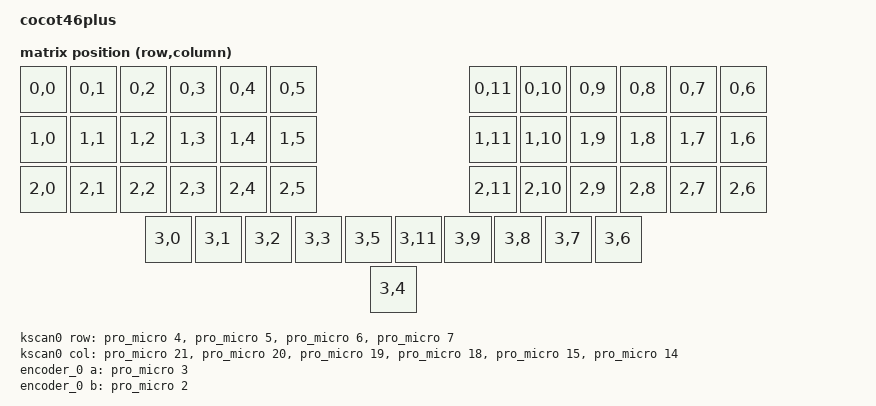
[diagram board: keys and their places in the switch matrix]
#include <dt-bindings/zmk/matrix_transform.h>
#include <dt-bindings/led/led.h>
/* Attempt 45: key_physical_attrs node (zmk,key-physical-attrs) needed by the
   physical layout 'keys' property (ZMK Studio). Resolves via ZMK's app module
   dts_root (app/module.yml: settings.dts_root = app/) - same include every
   in-tree keyboard with 'keys' uses (docs: development/hardware-integration/
   physical-layouts.md, "To pull in the necessary definition ... a new include
   should be added"). */
#include <physical_layouts.dtsi>

/ {
    model = "cocot46plus";
    compatible = "cocot46plus";

    /* Duplex matrix, same electrical model as QMK's custom matrix.c:
       pass 1 (col2row) = QMK logical rows 0-3,
       pass 2 (row2col) = QMK logical rows 5-8, reported in cols 6-11 [39][63] */
    kscan0: kscan_0 {
        compatible = "zmk,kscan-duplex-matrix";
        wakeup-source;

        row-gpios
            = <&pro_micro 4  GPIO_ACTIVE_LOW>   /* D4 */
            , <&pro_micro 5  GPIO_ACTIVE_LOW>   /* C6 */
            , <&pro_micro 6  GPIO_ACTIVE_LOW>   /* D7 */
            , <&pro_micro 7  GPIO_ACTIVE_LOW>   /* E6 */
            ;
        col-gpios
            = <&pro_micro 21 GPIO_ACTIVE_LOW>   /* F4 */
            , <&pro_micro 20 GPIO_ACTIVE_LOW>   /* F5 */
            , <&pro_micro 19 GPIO_ACTIVE_LOW>   /* F6 */
            , <&pro_micro 18 GPIO_ACTIVE_LOW>   /* F7 */
            , <&pro_micro 15 GPIO_ACTIVE_LOW>   /* B1 */
            , <&pro_micro 14 GPIO_ACTIVE_LOW>   /* B3 */
            ;

        debounce-press-ms = <5>;
        debounce-release-ms = <5>;
        scan-delay-us = <1>;
        /* poll-period-ms = <10>;  lower it if you want snappier response */
    };

    /* EC12-compatible encoder, QMK pins D3/D2 (aki27kbd fork keyboard.json:
       pin_a D3, pin_b D2). D3 = pro_micro 3 = P0.20, D2 = pro_micro 2 =
       P0.17. NOTE: D1/D0 (pro_micro 1/0 = P0.06/P0.08) are the OLED I2C
       pads (SDA/SCL) and must NOT be used here - Attempts <=33 wired the
       encoder onto the I2C pins, colliding with the i2c0 re-route below. */
    encoder_0: encoder_0 {
        compatible = "alps,ec11";
        resolution = <4>;
        a-gpios = <&pro_micro 3 (GPIO_ACTIVE_HIGH | GPIO_PULL_UP)>;  /* D3 */
        b-gpios = <&pro_micro 2 (GPIO_ACTIVE_HIGH | GPIO_PULL_UP)>;  /* D2 */
    };

    /* ADNS-5050 trackball sensor, bit-banged 3-wire (Attempt 34 pin
       verification: QMK aki27kbd fork config.h ADNS5050_SCLK_PIN B2 /
       SDIO_PIN B4 / CS_PIN B5; AVR PB2/PB4/PB5 = Arduino silk D16/D8/D9;
       nice!nano arduino_pro_micro_pins.dtsi: 16->gpio0 10 (P0.10),
       8->gpio1 4 (P1.04), 9->gpio1 6 (P1.06). Index 16 IS in the map.
       No MOTION pin, driver polls at 125 Hz. invert-x/y = QMK's
       POINTING_DEVICE_ROTATION_180.

       Attempt 37 (sensor unpowered, bench-confirmed): sensor VDD is
       jumpered to the Pro Micro VCC pin, which on the nice!nano is a
       SWITCHED rail - a load switch gated by P0.13. That pin is owned by
       the board's mandatory EXT_POWER node (zmk,ext-power-generic,
       control-gpios = <&gpio0 13 GPIO_ACTIVE_HIGH>, nice_nano_v2.dts).
       vcc-gpios below deliberately points at the SAME pin: the driver
       re-asserts the rail at the top of every init attempt, so underglow
       AUTO_OFF_IDLE (which calls ext_power_disable() on idle) or an
       NVS-restored ext_power off-state can no longer starve the sensor.
       Power-up wait = CONFIG_ADNS5050_POWER_UP_DELAY_MS (1 s default). */
    trackball: adns5050 {
        compatible = "pixart,adns5050";
        sclk-gpios = <&pro_micro 16 GPIO_ACTIVE_HIGH>;   /* B2 = P0.10 (NFC1) */
        sdio-gpios = <&pro_micro 8  GPIO_ACTIVE_HIGH>;   /* B4 = P1.04 */
        cs-gpios   = <&pro_micro 9  GPIO_ACTIVE_LOW>;    /* B5 = P1.06 */
        vcc-gpios  = <&gpio0 13 GPIO_ACTIVE_HIGH>; /* switched VCC rail (P0.13, same as board EXT_POWER) */
        cpi = <500>;
        invert-x;
        invert-y;
        scroll-layers = <1>;  /* Nav only — wheel scrolls when highest active layer is 1 (Rev2: Mouse layer removed) */
    };

    trackball_listener {
        compatible = "zmk,input-listener";
        device = <&trackball>;
    };

    /* 47 positions (Attempt 44): 46 physical keys + the EC11 push switch.
       QMK duplex ground truth (aki27kbd fork, MATRIX_ROWS 10 x COLS 6):
       pass 1 = QMK rows 0-3, pass 2 = rows 5-8. The encoder switch is wired
       at QMK [3,4] (pass 1: row E6, col B1): the aki27kbd default keymap
       binds KC_MS_BTN3 at the layout arg whose matrix coord is [3,4] — the
       key under the trackball — on all 7 layers, and the rev VIA json tags
       "3,4" as encoder e0 (kbd.news: "two keys and an encoder under the
       central trackball"). Rows 4/9 are NO_PIN, so the remaining QMK dummy
       slots ([4,2]/[4,4]/[9,2]/[9,5], plus pass-2 twin [8,4]) stay dropped.
       Attempt 44: the encoder's RC(3,4) moved from logical index 40 to the
       END of the map (index 46). The transform maps logical→physical, so
       the reorder is legal and the physical wiring is untouched; it keeps
       info.json entry i ↔ transform i ↔ keymap binding i aligned, which the
       nickcoutsos keymap-editor requires (its layout rows must be
       non-decreasing, and 'Enc' (display row 4) can no longer sit before
       the row-3 bottom keys). */
    default_transform: keymap_transform_0 {
        compatible = "zmk,matrix-transform";
        columns = <12>;
        rows = <4>;
        map = <
        /*                                  right half                                */
        /*   0        1        2        3        4        5        6        7        8        9       10       11   */
            RC(0,0)  RC(0,1)  RC(0,2)  RC(0,3)  RC(0,4)  RC(0,5)  RC(0,11) RC(0,10) RC(0,9)  RC(0,8)  RC(0,7)  RC(0,6)
            RC(1,0)  RC(1,1)  RC(1,2)  RC(1,3)  RC(1,4)  RC(1,5)  RC(1,11) RC(1,10) RC(1,9)  RC(1,8)  RC(1,7)  RC(1,6)
            RC(2,0)  RC(2,1)  RC(2,2)  RC(2,3)  RC(2,4)  RC(2,5)  RC(2,11) RC(2,10) RC(2,9)  RC(2,8)  RC(2,7)  RC(2,6)
            RC(3,0)  RC(3,1)  RC(3,2)  RC(3,3)  RC(3,5)  RC(3,11) RC(3,9)  RC(3,8)  RC(3,7)  RC(3,6)  RC(3,4)
        >;
    };

    physical_layout0: physical_layout_0 {
        compatible = "zmk,physical-layout";
        display-name = "Default";
        kscan = <&kscan0>;
        transform = <&default_transform>;

        /* Attempt 45 (ZMK Studio): physical attributes for all 47 positions,
           in EXACTLY the transform/keymap order above (binding[i] <-> keys[i],
           same invariant the keymap-editor needs). Format per v0.3.0 docs:
           <&key_physical_attrs w h x y r rx ry> in centi-keyunits, x/y =
           top-left corner. Geometry mirrors config/info.json's display grid
           (x*100, y*100): rows 0-2 are 12x 1u keys (gap = the central
           trackball cutout, x 600-800); bottom row is offset 2.5u (x 250..)
           with the EC11 push switch at display (7,4) below it. All keys 1u,
           no rotation. ZMK Studio renders this grid and needs >=1 layout
           with 'keys' (physical_layouts.c BUILD_ASSERT). */
        keys
            = /* row 0 (positions 0-11) */
            <&key_physical_attrs 100 100    0    0 0 0 0>
            , <&key_physical_attrs 100 100  100    0 0 0 0>
            , <&key_physical_attrs 100 100  200    0 0 0 0>
            , <&key_physical_attrs 100 100  300    0 0 0 0>
            , <&key_physical_attrs 100 100  400    0 0 0 0>
            , <&key_physical_attrs 100 100  500    0 0 0 0>
            , <&key_physical_attrs 100 100  900    0 0 0 0>
            , <&key_physical_attrs 100 100 1000    0 0 0 0>
            , <&key_physical_attrs 100 100 1100    0 0 0 0>
            , <&key_physical_attrs 100 100 1200    0 0 0 0>
            , <&key_physical_attrs 100 100 1300    0 0 0 0>
            , <&key_physical_attrs 100 100 1400    0 0 0 0>
            /* row 1 (positions 12-23) */
            , <&key_physical_attrs 100 100    0  100 0 0 0>
            , <&key_physical_attrs 100 100  100  100 0 0 0>
            , <&key_physical_attrs 100 100  200  100 0 0 0>
            , <&key_physical_attrs 100 100  300  100 0 0 0>
            , <&key_physical_attrs 100 100  400  100 0 0 0>
            , <&key_physical_attrs 100 100  500  100 0 0 0>
            , <&key_physical_attrs 100 100  900  100 0 0 0>
            , <&key_physical_attrs 100 100 1000  100 0 0 0>
            , <&key_physical_attrs 100 100 1100  100 0 0 0>
            , <&key_physical_attrs 100 100 1200  100 0 0 0>
            , <&key_physical_attrs 100 100 1300  100 0 0 0>
            , <&key_physical_attrs 100 100 1400  100 0 0 0>
            /* row 2 (positions 24-35) */
            , <&key_physical_attrs 100 100    0  200 0 0 0>
            , <&key_physical_attrs 100 100  100  200 0 0 0>
            , <&key_physical_attrs 100 100  200  200 0 0 0>
            , <&key_physical_attrs 100 100  300  200 0 0 0>
            , <&key_physical_attrs 100 100  400  200 0 0 0>
            , <&key_physical_attrs 100 100  500  200 0 0 0>
            , <&key_physical_attrs 100 100  900  200 0 0 0>
            , <&key_physical_attrs 100 100 1000  200 0 0 0>
            , <&key_physical_attrs 100 100 1100  200 0 0 0>
            , <&key_physical_attrs 100 100 1200  200 0 0 0>
            , <&key_physical_attrs 100 100 1300  200 0 0 0>
            , <&key_physical_attrs 100 100 1400  200 0 0 0>
            /* row 3 (positions 36-45), 2.5u-offset thumb row */
            , <&key_physical_attrs 100 100  250  300 0 0 0>
            , <&key_physical_attrs 100 100  350  300 0 0 0>
            , <&key_physical_attrs 100 100  450  300 0 0 0>
            , <&key_physical_attrs 100 100  550  300 0 0 0>
            , <&key_physical_attrs 100 100  650  300 0 0 0>
            , <&key_physical_attrs 100 100  750  300 0 0 0>
            , <&key_physical_attrs 100 100  850  300 0 0 0>
            , <&key_physical_attrs 100 100  950  300 0 0 0>
            , <&key_physical_attrs 100 100 1050  300 0 0 0>
            , <&key_physical_attrs 100 100 1150  300 0 0 0>
            /* position 46: EC11 push switch (RC(3,4)), display (7,4) */
            , <&key_physical_attrs 100 100  700  400 0 0 0>
            ;
    };

    chosen {
        zephyr,display = &oled;
        zmk,underglow = &led_strip;
        zmk,physical-layout = &physical_layout0;
    };
};

/* 12x SK6812MINI-E chain on P0.09 (Attempt 49). Bench-confirmed by Agen:
   the strip data pad is silk B6 = PB6 = P0.09 (NFC2 pad) per the PCB
   silkscreen, and the scope shows P0.09 undriven ("stays high") under the
   old P0.12 firmware. P0.12 (the MSFMFJT port value) belongs to a different
   board variant (5 matrix rows) and drove nothing on this PCB.
   NFC caveat: P0.09/P0.10 are the NFC pair, but GPIO use is proven on this
   unit - the trackball SCLK on P0.10 (NFC1) works (bench, Attempts 34+). */
&pinctrl {
    spi3_default: spi3_default {
        group1 {
            psels = <NRF_PSEL(SPIM_MOSI, 0, 9)>;   /* B6 = P0.09, silkscreen-confirmed */
        };
    };

    spi3_sleep: spi3_sleep {
        group1 {
            psels = <NRF_PSEL(SPIM_MOSI, 0, 9)>;   /* B6 = P0.09, silkscreen-confirmed */
            low-power-enable;
        };
    };
};

&spi3 {
    compatible = "nordic,nrf-spim";
    status = "okay";

    pinctrl-0 = <&spi3_default>;
    pinctrl-1 = <&spi3_sleep>;
    pinctrl-names = "default", "sleep";

    led_strip: ws2812@0 {
        compatible = "worldsemi,ws2812-spi";

        /* SPI */
        reg = <0>; /* ignored, but necessary for SPI bindings */
        spi-max-frequency = <4000000>;

        /* WS2812 */
        chain-length = <12>; /* 12x SK6812MINI-E */
        spi-one-frame = <0x70>;
        spi-zero-frame = <0x40>;

        color-mapping = <LED_COLOR_ID_GREEN LED_COLOR_ID_RED LED_COLOR_ID_BLUE>;
    };
};

/* OLED (128x32 SSD1306 on the Pro Micro I2C pins, enabled Attempt 30).
   Node shape mirrors ZMK v0.3.0's corne.dtsi; the binding requires
   segment-offset / page-offset / display-offset / multiplex-ratio. */
&i2c0 {
    status = "okay";

    oled: ssd1306@3c {
        compatible = "solomon,ssd1306fb";
        reg = <0x3c>;
        width = <128>;
        height = <32>;
        segment-offset = <0>;
        page-offset = <0>;
        display-offset = <0>;
        multiplex-ratio = <31>;
        segment-remap;
        com-invdir;
        com-sequential;
        inversion-on;
        prechargep = <0x22>;
    };
};

/* OLED rides the Pro Micro I2C header pads: AVR TWI = silk D1/D0
   (SDA=D1=P0.06, SCL=D0=P0.08), confirmed by SparkFun Pro Micro RP2040
   (I2C1 on GP2/GP3 = the same D1/D0 pads) carrying upstream cocot46plus
   OLED on I2C1. The BOARD-default i2c0 pinctrl is P0.17/P0.20 = silk
   D2/D3 = the ENCODER pins (fixed to 3/2 this attempt), so this re-route
   is REQUIRED and correct as-is. Node merge overrides only psels, same
   mechanism the spi3 block above uses. */
&pinctrl {
    i2c0_default: i2c0_default {
        group1 {
            psels = <NRF_PSEL(TWIM_SDA, 0, 6)>,
                <NRF_PSEL(TWIM_SCL, 0, 8)>;
            bias-pull-up;
        };
    };

    i2c0_sleep: i2c0_sleep {
        group1 {
            psels = <NRF_PSEL(TWIM_SDA, 0, 6)>,
                <NRF_PSEL(TWIM_SCL, 0, 8)>;
            low-power-enable;
            bias-pull-up;
        };
    };
};
